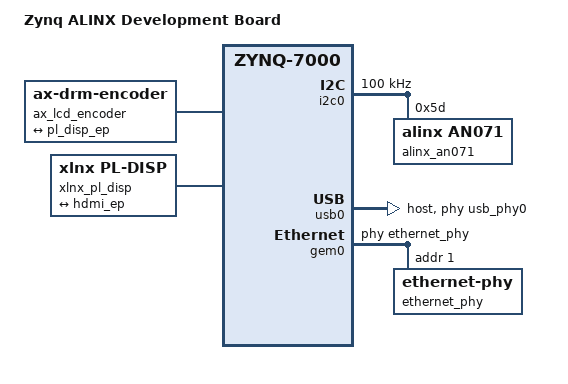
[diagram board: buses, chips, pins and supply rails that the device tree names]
/include/ "system-conf.dtsi"

/ {
	model = "Zynq ALINX Development Board";
	compatible = "alinx,zynq", "xlnx,zynq-7000";
	aliases {
		ethernet0 = "&gem0";
		serial0 = "&uart1";
	};

	usb_phy0: usb_phy@0 {
		compatible = "ulpi-phy";
		#phy-cells = <0>;
		reg = <0xe0002000 0x1000>;
		view-port = <0x0170>;
		drv-vbus;
	};


};

&i2c0 {
	clock-frequency = <100000>;
	alinx_an071@5D {  				
		compatible = "alinx,an071"; 
 		reg = <0x5D>;  
		interrupt-parent = <&intc>;
 		interrupts = <0 29 4>;
	}; 
};


&usb0 {
	dr_mode = "host";	
	usb-phy = <&usb_phy0>;
};

&sdhci0 {
	u-boot,dm-pre-reloc;
};

&uart1 {
	u-boot,dm-pre-reloc;
};


&flash0 {
	compatible = "micron,m25p80", "w25q256", "spi-flash";
};


&gem0 {
	phy-handle = <&ethernet_phy>;
	ethernet_phy: ethernet-phy@1 {
		reg = <1>;
		device_type = "ethernet-phy";
	};
};



&amba_pl {

	ax_lcd_encoder {
		compatible = "ax-drm-encoder";

		clocks = <&axi_dynclk_0>;
		clock-names = "clk";

		port@0 {
			#address-cells = <1>;
			#size-cells = <0>;
			reg = <0>;
			hdmi_ep: endpoint {
				remote-endpoint = <&pl_disp_ep>;
			};
		};
	};
	
	xlnx_pl_disp {
		compatible = "xlnx,pl-disp";
		dmas = <&axi_vdma_0 0>;
		dma-names = "dma0";

		xlnx,vformat = "AR24";
		xlnx,bridge = <&v_tc_0>;

		port@0 {
			reg = <0>;
			pl_disp_ep: endpoint {
				remote-endpoint = <&hdmi_ep>;
			};
		};
	};


	
};
&axi_dynclk_0 {
	compatible = "dglnt,axi-dynclk";
	#clock-cells = <0>;
	clocks = <&clkc 15>;
};
&v_tc_0 {
	compatible = "xlnx,bridge-v-tc-6.1";
	xlnx,pixels-per-clock = <1>;
};


